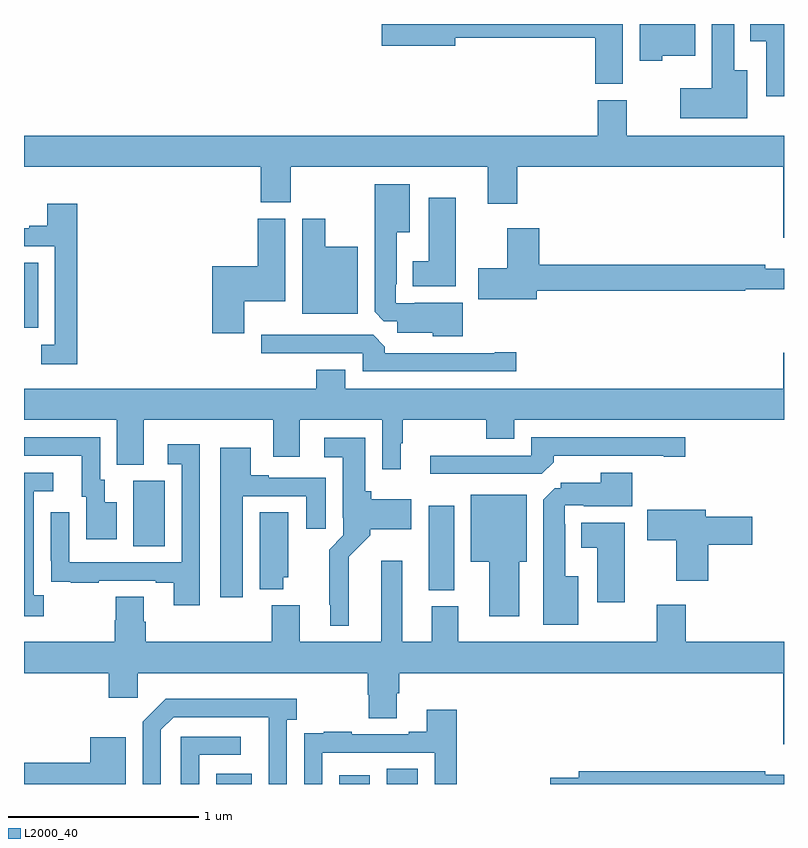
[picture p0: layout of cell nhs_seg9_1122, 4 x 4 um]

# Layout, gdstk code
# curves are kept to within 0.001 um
import gdstk
lib = gdstk.Library(unit=1e-6, precision=1e-09)
def R(c, l, rs):  # rectangles x0, y0, x1, y1
    for r in rs: c.add(gdstk.rectangle(r[:2], r[2:], *l))
def P(c, l, *ps):  # polygons
    for p in ps: c.add(gdstk.Polygon(p, *l))
L2000_40 = (2000, 40)

nhs_seg9_1122 = lib.new_cell('nhs_seg9_1122')
R(nhs_seg9_1122, L2000_40, [(174.011,1198.5,174.199,1198.555), (174.659,1198.5,174.82,1198.546), (174.908,1198.5,175.072,1198.58), (175.13,1199.521,175.264,1199.965), (173.576,1199.752,173.74,1200.096), (173,1200.901,173.074,1201.244)])
P(nhs_seg9_1122, L2000_40, [(176.152,1202.5),(174.882,1202.5),(174.882,1202.386),(175.27,1202.386),(175.27,1202.428),(176.006,1202.428),(176.006,1202.185),(176.152,1202.185)],
  [(177,1202.5),(176.822,1202.5),(176.822,1202.408),(176.906,1202.408),(176.906,1202.121),(177,1202.121)],
  [(176.358,1202.333),(176.533,1202.333),(176.533,1202.5),(176.24,1202.5),(176.24,1202.306),(176.358,1202.306)],
  [(176.806,1202.257),(176.737,1202.257),(176.737,1202.5),(176.621,1202.5),(176.621,1202.161),(176.454,1202.161),(176.454,1202.003),(176.806,1202.003)],
  [(177,1201.912),(176.173,1201.912),(176.173,1202.1),(176.021,1202.1),(176.021,1201.912),(173,1201.912),(173,1201.748),(174.245,1201.748),(174.245,1201.561),(174.405,1201.561),(174.405,1201.748),(175.442,1201.748),(175.442,1201.554),(175.595,1201.554),(175.595,1201.748),(176.996,1201.748),(176.996,1201.374),(177,1201.374)],
  [(175.309,1201.033),(175.057,1201.033),(175.057,1201.029),(174.957,1201.029),(174.957,1201.129),(174.961,1201.129),(174.961,1201.403),(175.03,1201.403),(175.03,1201.657),(174.845,1201.657),(174.845,1200.985),(174.894,1200.936),(174.965,1200.936),(174.965,1200.875),(175.152,1200.875),(175.152,1200.857),(175.309,1200.857)],
  [(175.273,1201.585),(175.13,1201.585),(175.13,1201.252),(175.046,1201.252),(175.046,1201.121),(175.273,1201.121)],
  [(173.279,1201.555),(173.123,1201.555),(173.123,1201.438),(173.027,1201.438),(173.027,1201.425),(173,1201.425),(173,1201.329),(173.163,1201.329),(173.163,1200.813),(173.091,1200.813),(173.091,1200.708),(173.279,1200.708)],
  [(174.16,1201.04),(174.376,1201.04),(174.376,1201.476),(174.23,1201.476),(174.23,1201.225),(173.99,1201.225),(173.99,1200.873),(174.16,1200.873)],
  [(174.757,1201.327),(174.586,1201.327),(174.586,1201.474),(174.464,1201.474),(174.464,1200.974),(174.757,1200.974)],
  [(175.699,1201.096),(176.795,1201.096),(176.795,1201.104),(177,1201.104),(177,1201.213),(176.9,1201.213),(176.9,1201.232),(175.712,1201.232),(175.712,1201.426),(175.544,1201.426),(175.544,1201.215),(175.392,1201.215),(175.392,1201.052),(175.699,1201.052)],
  [(175.591,1200.773),(175.478,1200.773),(175.478,1200.768),(174.899,1200.768),(174.899,1200.802),(174.837,1200.864),(174.249,1200.864),(174.249,1200.768),(174.783,1200.768),(174.783,1200.672),(175.591,1200.672)],
  [(174.982,1200.294),(174.994,1200.294),(174.994,1200.416),(175.432,1200.416),(175.432,1200.317),(175.579,1200.317),(175.579,1200.416),(177,1200.416),(177,1200.769),(176.996,1200.769),(176.996,1200.58),(174.691,1200.58),(174.691,1200.679),(174.539,1200.679),(174.539,1200.58),(173,1200.58),(173,1200.416),(173.489,1200.416),(173.489,1200.181),(173.629,1200.181),(173.629,1200.416),(174.311,1200.416),(174.311,1200.222),(174.451,1200.222),(174.451,1200.416),(174.885,1200.416),(174.885,1200.156),(174.982,1200.156)],
  [(175.787,1200.194),(175.787,1200.228),(176.366,1200.228),(176.366,1200.223),(176.479,1200.223),(176.479,1200.324),(175.671,1200.324),(175.671,1200.228),(175.137,1200.228),(175.137,1200.132),(175.725,1200.132)],
  [(173.488,1199.983),(173.425,1199.983),(173.425,1200.102),(173.4,1200.102),(173.4,1200.324),(173,1200.324),(173,1200.228),(173.303,1200.228),(173.303,1200.012),(173.327,1200.012),(173.327,1199.787),(173.488,1199.787)],
  [(174.709,1199.696),(174.822,1199.809),(174.822,1199.84),(175.039,1199.84),(175.039,1199.998),(174.827,1199.998),(174.827,1200.042),(174.796,1200.042),(174.796,1200.322),(174.579,1200.322),(174.579,1200.221),(174.677,1200.221),(174.677,1199.902),(174.681,1199.902),(174.681,1199.808),(174.607,1199.734),(174.607,1199.443),(174.611,1199.443),(174.611,1199.333),(174.709,1199.333)],
  [(173.925,1200.289),(173.757,1200.289),(173.757,1200.183),(173.829,1200.183),(173.829,1199.667),(173.238,1199.667),(173.238,1199.929),(173.142,1199.929),(173.142,1199.674),(173.143,1199.674),(173.143,1199.565),(173.245,1199.565),(173.245,1199.559),(173.393,1199.559),(173.393,1199.571),(173.693,1199.571),(173.693,1199.559),(173.789,1199.559),(173.789,1199.442),(173.925,1199.442)],
  [(174.151,1200.015),(174.485,1200.015),(174.485,1199.844),(174.589,1199.844),(174.589,1200.111),(174.289,1200.111),(174.289,1200.124),(174.193,1200.124),(174.193,1200.271),(174.032,1200.271),(174.032,1199.484),(174.151,1199.484)],
  [(175.918,1199.593),(175.849,1199.593),(175.849,1199.867),(175.845,1199.867),(175.845,1199.967),(175.945,1199.967),(175.945,1199.963),(176.2,1199.963),(176.2,1200.139),(176.036,1200.139),(176.036,1200.085),(175.824,1200.085),(175.824,1200.057),(175.793,1200.057),(175.733,1199.997),(175.733,1199.339),(175.918,1199.339)],
  [(173.104,1199.494),(173.052,1199.494),(173.052,1200.042),(173.155,1200.042),(173.155,1200.138),(173,1200.138),(173,1199.384),(173.104,1199.384)],
  [(175.606,1199.669),(175.645,1199.669),(175.645,1200.022),(175.352,1200.022),(175.352,1199.669),(175.448,1199.669),(175.448,1199.382),(175.606,1199.382)],
  [(176.6,1199.759),(176.833,1199.759),(176.833,1199.906),(176.587,1199.906),(176.587,1199.944),(176.28,1199.944),(176.28,1199.782),(176.432,1199.782),(176.432,1199.571),(176.6,1199.571)],
  [(174.364,1199.589),(174.391,1199.589),(174.391,1199.93),(174.242,1199.93),(174.242,1199.525),(174.364,1199.525)],
  [(176.161,1199.875),(175.934,1199.875),(175.934,1199.744),(176.018,1199.744),(176.018,1199.457),(176.161,1199.457)],
  [(177,1199.248),(176.483,1199.248),(176.483,1199.443),(176.33,1199.443),(176.33,1199.248),(175.285,1199.248),(175.285,1199.436),(175.145,1199.436),(175.145,1199.248),(174.991,1199.248),(174.991,1199.674),(174.881,1199.674),(174.881,1199.248),(174.451,1199.248),(174.451,1199.44),(174.304,1199.44),(174.304,1199.248),(173.642,1199.248),(173.642,1199.354),(173.629,1199.354),(173.629,1199.486),(173.482,1199.486),(173.482,1199.361),(173.477,1199.361),(173.477,1199.248),(173,1199.248),(173,1199.084),(173.447,1199.084),(173.447,1198.953),(173.598,1198.953),(173.598,1199.084),(174.809,1199.084),(174.809,1198.971),(174.814,1198.971),(174.814,1198.846),(174.961,1198.846),(174.961,1198.978),(174.974,1198.978),(174.974,1199.084),(176.996,1199.084),(176.996,1198.71),(177,1198.71)],
  [(173.721,1198.785),(173.787,1198.851),(174.287,1198.851),(174.288,1198.5),(174.384,1198.5),(174.384,1198.838),(174.436,1198.838),(174.436,1198.948),(173.746,1198.948),(173.625,1198.827),(173.625,1198.5),(173.721,1198.5)],
  [(174.57,1198.665),(175.161,1198.665),(175.161,1198.5),(175.277,1198.5),(175.277,1198.891),(175.121,1198.891),(175.121,1198.774),(175.025,1198.774),(175.025,1198.761),(174.725,1198.761),(174.725,1198.774),(174.577,1198.774),(174.577,1198.767),(174.475,1198.767),(174.475,1198.658),(174.474,1198.658),(174.474,1198.5),(174.57,1198.5)],
  [(173.922,1198.653),(174.142,1198.653),(174.142,1198.749),(173.826,1198.749),(173.826,1198.5),(173.922,1198.5)],
  [(173.536,1198.747),(173.348,1198.747),(173.348,1198.612),(173,1198.612),(173,1198.5),(173.536,1198.5)],
  [(177,1198.549),(176.9,1198.549),(176.9,1198.568),(175.919,1198.568),(175.919,1198.532),(175.77,1198.532),(175.77,1198.5),(177,1198.5)])

lib.write_gds('nhs_seg9_1122.gds')
